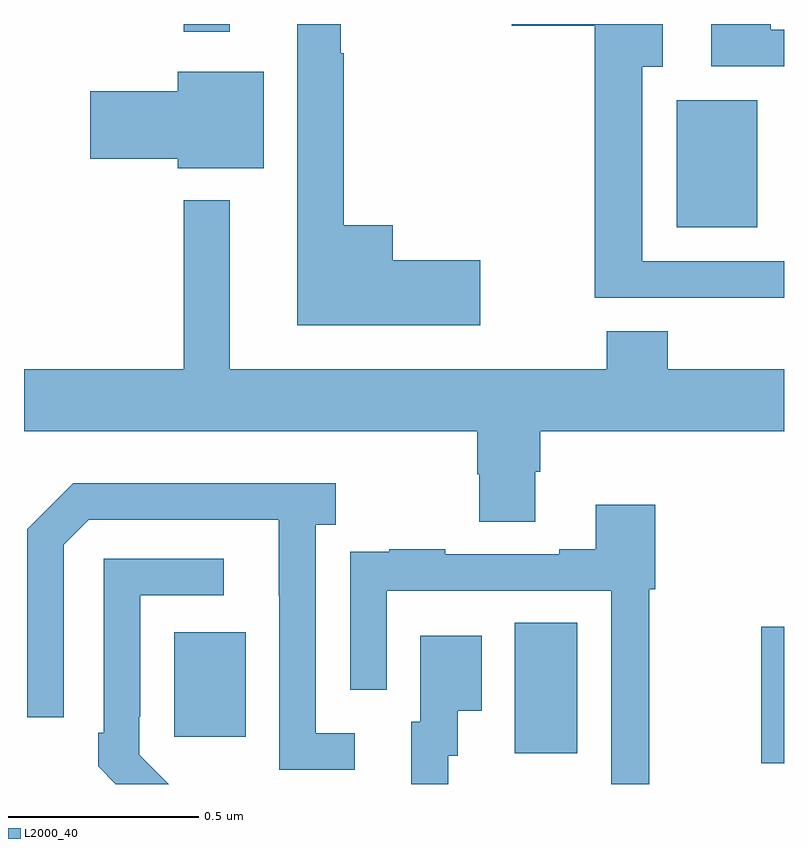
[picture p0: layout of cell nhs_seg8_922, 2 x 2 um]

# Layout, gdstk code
import gdstk
lib = gdstk.Library(unit=1e-6, precision=1e-09)
def R(c, l, rs):  # rectangles x0, y0, x1, y1
    for r in rs: c.add(gdstk.rectangle(r[:2], r[2:], *l))
def P(c, l, *ps):  # polygons
    for p in ps: c.add(gdstk.Polygon(p, *l))
L2000_40 = (2000, 40)

nhs_seg8_922 = lib.new_cell('nhs_seg8_922')
R(nhs_seg8_922, L2000_40, [(124.94,1120.954,125,1121.314), (124.292,1120.981,124.456,1121.324), (123.395,1121.025,123.583,1121.299), (124.718,1122.365,124.93,1122.7), (123.42,1122.879,123.541,1122.9)])
P(nhs_seg8_922, L2000_40, [(125,1122.885),(124.965,1122.885),(124.965,1122.9),(124.809,1122.9),(124.809,1122.789),(125,1122.789)],
  [(124.201,1122.278),(123.97,1122.278),(123.97,1122.37),(123.841,1122.37),(123.841,1122.823),(123.833,1122.823),(123.833,1122.9),(123.719,1122.9),(123.719,1122.107),(124.201,1122.107)],
  [(125,1122.276),(124.627,1122.276),(124.627,1122.788),(124.681,1122.788),(124.681,1122.9),(124.284,1122.9),(124.284,1122.896),(124.502,1122.896),(124.502,1122.179),(125,1122.179)],
  [(123.631,1122.775),(123.404,1122.775),(123.404,1122.723),(123.174,1122.723),(123.174,1122.545),(123.404,1122.545),(123.404,1122.521),(123.631,1122.521)],
  [(124.345,1121.722),(124.358,1121.722),(124.358,1121.828),(125,1121.828),(125,1121.992),(124.694,1121.992),(124.694,1122.091),(124.534,1122.091),(124.534,1121.992),(123.541,1121.992),(123.541,1122.436),(123.42,1122.436),(123.42,1121.992),(123,1121.992),(123,1121.828),(124.193,1121.828),(124.193,1121.715),(124.198,1121.715),(124.198,1121.59),(124.345,1121.59)],
  [(123.871,1121.034),(123.768,1121.034),(123.768,1121.582),(123.82,1121.582),(123.82,1121.692),(123.13,1121.692),(123.009,1121.571),(123.009,1121.076),(123.105,1121.076),(123.105,1121.529),(123.171,1121.595),(123.671,1121.595),(123.671,1121.395),(123.672,1121.395),(123.672,1120.938),(123.871,1120.938)],
  [(124.646,1121.412),(124.661,1121.412),(124.661,1121.635),(124.505,1121.635),(124.505,1121.518),(124.409,1121.518),(124.409,1121.505),(124.109,1121.505),(124.109,1121.518),(123.961,1121.518),(123.961,1121.511),(123.859,1121.511),(123.859,1121.402),(123.858,1121.402),(123.858,1121.148),(123.954,1121.148),(123.954,1121.409),(124.545,1121.409),(124.545,1120.9),(124.646,1120.9)],
  [(123.303,1120.977),(123.303,1121.077),(123.306,1121.077),(123.306,1121.397),(123.526,1121.397),(123.526,1121.493),(123.21,1121.493),(123.21,1121.035),(123.195,1121.035),(123.195,1120.947),(123.242,1120.9),(123.381,1120.9)],
  [(124.116,1120.974),(124.141,1120.974),(124.141,1121.093),(124.204,1121.093),(124.204,1121.29),(124.043,1121.29),(124.043,1121.064),(124.019,1121.064),(124.019,1120.9),(124.116,1120.9)])

lib.write_gds('nhs_seg8_922.gds')
